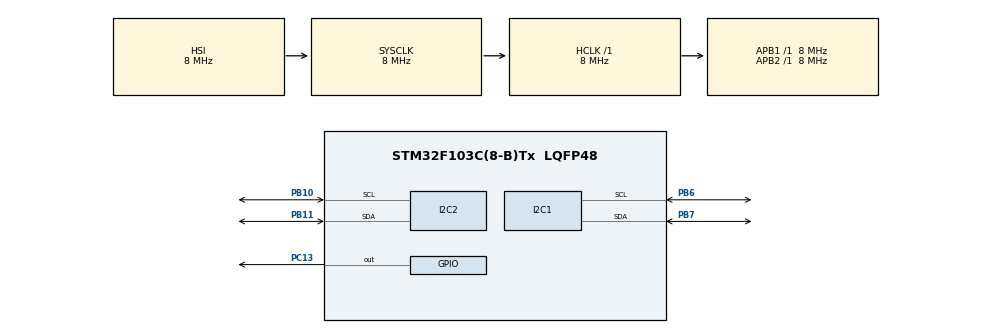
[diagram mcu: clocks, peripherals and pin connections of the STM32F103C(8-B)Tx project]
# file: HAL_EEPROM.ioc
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Mcu.Family=STM32F1
Mcu.Name=STM32F103C(8-B)Tx
Mcu.Package=LQFP48
NVIC.PriorityGroup=NVIC_PRIORITYGROUP_4
PB10.GPIO_Mode=GPIO_MODE_AF_OD
PB10.GPIO_Speed=GPIO_SPEED_FREQ_HIGH
PB10.Mode=I2C
PB10.Signal=I2C2_SCL
PB11.GPIO_Mode=GPIO_MODE_AF_OD
PB11.GPIO_Speed=GPIO_SPEED_FREQ_HIGH
PB11.Mode=I2C
PB11.Signal=I2C2_SDA
PB6.Mode=I2C
PB6.Signal=I2C1_SCL
PB7.Mode=I2C
PB7.Signal=I2C1_SDA
PC13-TAMPER-RTC.Signal=GPIO_Output
PD0-OSC_IN.Mode=HSE-External-Oscillator
PD0-OSC_IN.Signal=RCC_OSC_IN
PD1-OSC_OUT.Mode=HSE-External-Oscillator
PD1-OSC_OUT.Signal=RCC_OSC_OUT
ProjectManager.HeapSize=0x200
ProjectManager.StackSize=0x400
ProjectManager.TargetToolchain=STM32CubeIDE
RCC.AHBFreq_Value=8000000
RCC.APB1Freq_Value=8000000
RCC.APB1TimFreq_Value=8000000
RCC.APB2Freq_Value=8000000
RCC.APB2TimFreq_Value=8000000
RCC.HCLKFreq_Value=8000000
RCC.PLLSourceVirtual=RCC_PLLSOURCE_HSE
RCC.SYSCLKFreq_VALUE=8000000
RCC.USBFreq_Value=16000000
board=custom

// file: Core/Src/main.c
/* USER CODE BEGIN Header */
/**
  ******************************************************************************
  * @file           : main.c
  * @brief          : Main program body
  ******************************************************************************
  * @attention
  *
  * Copyright (c) 2024 STMicroelectronics.
  * All rights reserved.
  *
  * This software is licensed under terms that can be found in the LICENSE file
  * in the root directory of this software component.
  * If no LICENSE file comes with this software, it is provided AS-IS.
  *
  ******************************************************************************
  */
/* USER CODE END Header */
#include "main.h"

/* USER CODE BEGIN Includes */
#include "DS3231.h"
#include <stdio.h>
/* USER CODE END Includes */

/* USER CODE BEGIN PD */
#define ROM_ADDR  	0xA0

#define PAGE_0		0
#define PAGE_1		(1 << 1)

#define PAGE_SIZE	16
/* USER CODE END PD */

I2C_HandleTypeDef hi2c1;
I2C_HandleTypeDef hi2c2;

/* USER CODE BEGIN PV */
DS3231_Time_t timer_time = {0,0,0,0,0,0,0};
uint8_t received_data [256];
uint8_t ROM_DUMP [512];

//56 bits = 7bytes
DS3231_Time_t TIME_BUFF;

/* USER CODE END PV */

void SystemClock_Config(void);
static void MX_GPIO_Init(void);
static void MX_I2C1_Init(void);
static void MX_I2C2_Init(void);
/* USER CODE BEGIN PFP */
void device_send(I2C_HandleTypeDef *hi2c, uint16_t DevAddress, uint8_t *pData, uint16_t Size);
void device_receive(I2C_HandleTypeDef *hi2c, uint16_t DevAddress, uint8_t MemAddress,\
		uint8_t *pData, uint16_t Size);

void EEPROM_write(I2C_HandleTypeDef *hi2c, uint16_t DevAddress, uint8_t MemAddress,\
		uint8_t *pData, uint16_t Size);
void EEPROM_read(I2C_HandleTypeDef *hi2c, uint16_t DevAddress, uint8_t MemAddress,\
		uint8_t *pData, uint16_t Size);

/* USER CODE END PFP */

int main(void)
{

  /* MCU Configuration--------------------------------------------------------*/

  /* Reset of all peripherals, Initializes the Flash interface and the Systick. */
  HAL_Init();

  /* Configure the system clock */
  SystemClock_Config();

  /* Initialize all configured peripherals */
  MX_GPIO_Init();
  MX_I2C1_Init();
  MX_I2C2_Init();
  /* USER CODE BEGIN 2 */

  uint8_t write_data [16];

  //CHECK IF THE MEMORY IS AVAILABLE
  if(HAL_I2C_IsDeviceReady(&hi2c1, (ROM_ADDR | PAGE_0), 5, 50) == HAL_OK);
  else
  {
	  while(1)
	  {
		  //MEMORY IS NOT WORKING
	  }
  }
  //CHECK IF THE CLOCK IS WORKING
  if(HAL_I2C_IsDeviceReady(&hi2c1, DS3231_address, 5, 50) == HAL_OK);
  else
  {
	  while(1)
	  {
		  //CLOCK IS NOT WORKING
	  }
  }

  EEPROM_read(&hi2c1, (ROM_ADDR | PAGE_0), 0x00, (uint8_t*)&TIME_BUFF, 7);
  printf("\n\rProgram is running...\r\n"\
		  "Last time program run: %.2d:%.2d:%.2d\r\n"\
		  , TIME_BUFF.time_hr, TIME_BUFF.time_min, TIME_BUFF.time_sec);

  TIME_BUFF = DS3231_get_time(&hi2c1);

  //FILL ALL THE ROM MEMORY WITH THE GIVEN DATA
  for(int j = 0; j < 32; j++)
  {
	  for(int i = 0; i<16; i++)
	  {
		  write_data[i] = j;
	  }

	  if(j < 16)
	  {
		  EEPROM_write(&hi2c1, (ROM_ADDR | PAGE_0), 16*j, write_data, PAGE_SIZE);
	  }
	  else
	  {
		  EEPROM_write(&hi2c1, (ROM_ADDR | PAGE_1),  16*(j-16), write_data, PAGE_SIZE);
	  }
  }

  //CHANGE FIRST PAGE IN THE SECOND HALF
  for(int i = 0; i<16; i++)
  {
	  write_data[i] = 0xBD;
  }

  EEPROM_write(&hi2c1, (ROM_ADDR | PAGE_0), 0x00, (uint8_t*)&TIME_BUFF, 7);
  /* USER CODE END 2 */

  /* Infinite loop */
  /* USER CODE BEGIN WHILE */
  while (1)
  {
	  TIME_BUFF = DS3231_get_time(&hi2c1);
	  //DUMP ALL THE MEMORY 512*8 = 4096
	  EEPROM_read(&hi2c1, (ROM_ADDR | PAGE_0), 0x00, ROM_DUMP, (512));

	  //READ THE FIRST PAGE / FIRST HALF MEMORY 256*8 = 2048 bits
	  EEPROM_read(&hi2c1, (ROM_ADDR | PAGE_0), 0x00, received_data, (256));

	  //READ THE SECOND PAGE / SECOND HALF MEMORY 256*8 = 2048 bits
	  EEPROM_read(&hi2c1, (ROM_ADDR | PAGE_1), 0x00, received_data, (256));

	  HAL_GPIO_TogglePin(GPIOC, GPIO_PIN_13);

	  // CUSTOM DELAY - JUST FOR TESTING PURPOSE
	  HAL_Delay(1000);

    /* USER CODE END WHILE */

  }
}

void SystemClock_Config(void)
{
  RCC_OscInitTypeDef RCC_OscInitStruct = {0};
  RCC_ClkInitTypeDef RCC_ClkInitStruct = {0};

  /** Initializes the RCC Oscillators according to the specified parameters
  * in the RCC_OscInitTypeDef structure.
  */
  RCC_OscInitStruct.OscillatorType = RCC_OSCILLATORTYPE_HSI;
  RCC_OscInitStruct.HSIState = RCC_HSI_ON;
  RCC_OscInitStruct.HSICalibrationValue = RCC_HSICALIBRATION_DEFAULT;
  RCC_OscInitStruct.PLL.PLLState = RCC_PLL_NONE;
  if (HAL_RCC_OscConfig(&RCC_OscInitStruct) != HAL_OK)
  {
    Error_Handler();
  }

  /** Initializes the CPU, AHB and APB buses clocks
  */
  RCC_ClkInitStruct.ClockType = RCC_CLOCKTYPE_HCLK|RCC_CLOCKTYPE_SYSCLK
                              |RCC_CLOCKTYPE_PCLK1|RCC_CLOCKTYPE_PCLK2;
  RCC_ClkInitStruct.SYSCLKSource = RCC_SYSCLKSOURCE_HSI;
  RCC_ClkInitStruct.AHBCLKDivider = RCC_SYSCLK_DIV1;
  RCC_ClkInitStruct.APB1CLKDivider = RCC_HCLK_DIV1;
  RCC_ClkInitStruct.APB2CLKDivider = RCC_HCLK_DIV1;

  if (HAL_RCC_ClockConfig(&RCC_ClkInitStruct, FLASH_LATENCY_0) != HAL_OK)
  {
    Error_Handler();
  }
}

static void MX_I2C1_Init(void)
{

  hi2c1.Instance = I2C1;
  hi2c1.Init.ClockSpeed = 100000;
  hi2c1.Init.DutyCycle = I2C_DUTYCYCLE_2;
  hi2c1.Init.OwnAddress1 = 0;
  hi2c1.Init.AddressingMode = I2C_ADDRESSINGMODE_7BIT;
  hi2c1.Init.DualAddressMode = I2C_DUALADDRESS_DISABLE;
  hi2c1.Init.OwnAddress2 = 0;
  hi2c1.Init.GeneralCallMode = I2C_GENERALCALL_DISABLE;
  hi2c1.Init.NoStretchMode = I2C_NOSTRETCH_DISABLE;
  if (HAL_I2C_Init(&hi2c1) != HAL_OK)
  {
    Error_Handler();
  }

}

static void MX_I2C2_Init(void)
{

  hi2c2.Instance = I2C2;
  hi2c2.Init.ClockSpeed = 100000;
  hi2c2.Init.DutyCycle = I2C_DUTYCYCLE_2;
  hi2c2.Init.OwnAddress1 = 0;
  hi2c2.Init.AddressingMode = I2C_ADDRESSINGMODE_7BIT;
  hi2c2.Init.DualAddressMode = I2C_DUALADDRESS_DISABLE;
  hi2c2.Init.OwnAddress2 = 0;
  hi2c2.Init.GeneralCallMode = I2C_GENERALCALL_DISABLE;
  hi2c2.Init.NoStretchMode = I2C_NOSTRETCH_DISABLE;
  if (HAL_I2C_Init(&hi2c2) != HAL_OK)
  {
    Error_Handler();
  }

}

static void MX_GPIO_Init(void)
{
  GPIO_InitTypeDef GPIO_InitStruct = {0};

  /* GPIO Ports Clock Enable */
  __HAL_RCC_GPIOC_CLK_ENABLE();
  __HAL_RCC_GPIOD_CLK_ENABLE();
  __HAL_RCC_GPIOB_CLK_ENABLE();

  /*Configure GPIO pin Output Level */
  HAL_GPIO_WritePin(GPIOC, GPIO_PIN_13, GPIO_PIN_RESET);

  /*Configure GPIO pin : PC13 */
  GPIO_InitStruct.Pin = GPIO_PIN_13;
  GPIO_InitStruct.Mode = GPIO_MODE_OUTPUT_PP;
  GPIO_InitStruct.Pull = GPIO_NOPULL;
  GPIO_InitStruct.Speed = GPIO_SPEED_FREQ_LOW;
  HAL_GPIO_Init(GPIOC, &GPIO_InitStruct);

}

/* USER CODE BEGIN 4 */
void EEPROM_write(I2C_HandleTypeDef *hi2c, uint16_t DevAddress, uint8_t MemAddress, uint8_t *pData, uint16_t Size)
{
	//set memory address
	uint8_t tmp_data[Size+1];
	tmp_data[0] = MemAddress;

	//set the data to send
	for(int i = 0; i < Size; i++)
	{
		tmp_data[i+1] = pData[i];
	}

	device_send(hi2c, DevAddress, tmp_data, (Size+1));

	//DELAY TWR = 5MS - see documentation
	HAL_Delay(5);
}

void EEPROM_read(I2C_HandleTypeDef *hi2c, uint16_t DevAddress, uint8_t MemAddress, uint8_t *pData, uint16_t Size)
{
	HAL_I2C_Mem_Read(&hi2c1, DevAddress, MemAddress, 1, pData, Size, HAL_MAX_DELAY);
}

void device_send(I2C_HandleTypeDef *hi2c, uint16_t DevAddress, uint8_t *pData, uint16_t Size)
{
	HAL_I2C_Master_Transmit(hi2c, DevAddress, pData, Size, 100);
	while(HAL_I2C_GetState(hi2c) != HAL_I2C_STATE_READY){};
}

void device_receive(I2C_HandleTypeDef *hi2c, uint16_t DevAddress, uint8_t MemAddress, uint8_t *pData, uint16_t Size)
{
	uint8_t mem = MemAddress;
	HAL_I2C_Master_Transmit(hi2c, DevAddress, &mem, 1, 100);
	while(HAL_I2C_GetState(hi2c) != HAL_I2C_STATE_READY){};
	HAL_Delay(5);
	HAL_I2C_Master_Receive(hi2c, DevAddress, pData, Size, 100);
	while(HAL_I2C_GetState(hi2c) != HAL_I2C_STATE_READY){};
}

/* USER CODE END 4 */

void Error_Handler(void)
{
  __disable_irq();
  while (1)
  {
  }
}
